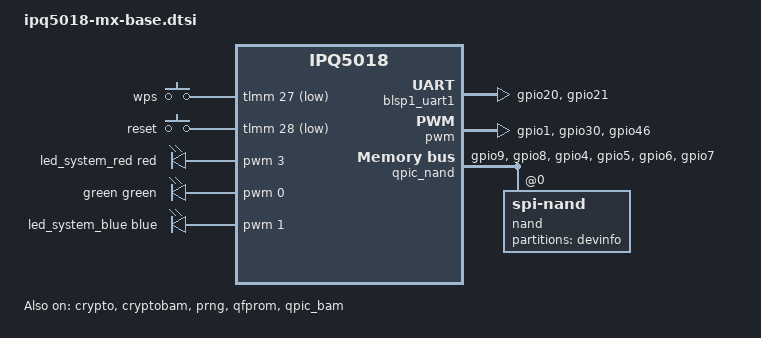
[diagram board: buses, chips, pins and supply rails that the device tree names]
#include "ipq5018.dtsi"
#include "ipq5018-ess.dtsi"

#include <dt-bindings/gpio/gpio.h>
#include <dt-bindings/input/input.h>
#include <dt-bindings/leds/common.h>

/ {

	aliases {
		led-boot = &led_system_blue;
		led-failsafe = &led_system_red;
		led-running = &led_system_blue;
		led-upgrade = &led_system_red;
		serial0 = &blsp1_uart1;
	};

	keys {
		compatible = "gpio-keys";
		pinctrl-0 = <&button_pins>;
		pinctrl-names = "default";

		wps-button {
			label = "wps";
			gpios = <&tlmm 27 GPIO_ACTIVE_LOW>;
			linux,code = <KEY_WPS_BUTTON>;
		};

		reset-button {
			label = "reset";
			gpios = <&tlmm 28 GPIO_ACTIVE_LOW>;
			linux,code = <KEY_RESTART>;
		};
	};

	leds {
		compatible = "pwm-leds";

		led_system_red: red {
			color = <LED_COLOR_ID_RED>;
			function = LED_FUNCTION_POWER;
			pwms = <&pwm 3 1250000>;
			max-brightness = <255>;
		};

		green {
			color = <LED_COLOR_ID_GREEN>;
			function = LED_FUNCTION_POWER;
			pwms = <&pwm 0 1250000>;
			max-brightness = <255>;
		};

		led_system_blue: blue {
			color = <LED_COLOR_ID_BLUE>;
			function = LED_FUNCTION_POWER;
			pwms = <&pwm 1 1250000>;
			max-brightness = <255>;
		};
	};
};

&sleep_clk {
	clock-frequency = <32000>;
};

&xo_board_clk {
	clock-div = <4>;
	clock-mult = <1>;
};

&blsp1_uart1 {
	status = "okay";

	pinctrl-0 = <&serial_0_pins>;
	pinctrl-names = "default";
};

&crypto {
	status = "okay";
};

&cryptobam {
	status = "okay";
};

&prng {
	status = "okay";
};

&pwm {
	status = "okay";

	#pwm-cells = <2>;
	pinctrl-0 = <&pwm_pins>;
	pinctrl-names = "default";
};

&qfprom {
	status = "okay";
};

&qpic_bam {
	status = "okay";
};

&qpic_nand {
	pinctrl-0 = <&qpic_pins>;
	pinctrl-names = "default";
	status = "okay";

	nand@0 {
		compatible = "spi-nand";
		reg = <0>;
		nand-ecc-engine = <&qpic_nand>;
		nand-bus-width = <8>;

		partitions {
			compatible = "qcom,smem-part";

			partition-devinfo {
				label = "devinfo";
				read-only;

				nvmem-layout {
					compatible = "ascii-eq-delim-env";
					#address-cells = <1>;
					#size-cells = <1>;

					hw_mac_addr: hw_mac_addr {
						compatible = "mac-base";
						#nvmem-cell-cells = <1>;
					};
				};
			};
		};
	};
};

&tlmm {
	button_pins: button-state {
		pins = "gpio27", "gpio28";
		function = "gpio";
		drive-strength = <8>;
		bias-pull-up;
	};

	mdio1_pins: mdio-state {
		mdc-pins {
			pins = "gpio36";
			function = "mdc";
			drive-strength = <8>;
			bias-pull-up;
		};

		mdio-pins {
			pins = "gpio37";
			function = "mdio";
			drive-strength = <8>;
			bias-pull-up;
		};
	};

	pwm_pins: pwm-state {
		mux_1 {
			pins = "gpio1";
			function = "pwm1";
			drive-strength = <8>;
		};

		mux_2 {
			pins = "gpio30";
			function = "pwm3";
			drive-strength = <8>;
		};

		mux_3 {
			pins = "gpio46";
			function = "pwm0";
			drive-strength = <8>;
		};
	};

	qpic_pins: qpic-state {
		clock-pins {
			pins = "gpio9";
			function = "qspi_clk";
			drive-strength = <8>;
			bias-disable;
		};

		cs-pins {
			pins = "gpio8";
			function = "qspi_cs";
			drive-strength = <8>;
			bias-disable;
		};

		data-pins {
			pins = "gpio4", "gpio5", "gpio6", "gpio7";
			function = "qspi_data";
			drive-strength = <8>;
			bias-disable;
		};
	};

	serial_0_pins: uart0-state {
		pins = "gpio20", "gpio21";
		function = "blsp0_uart0";
		bias-disable;
	};
};
